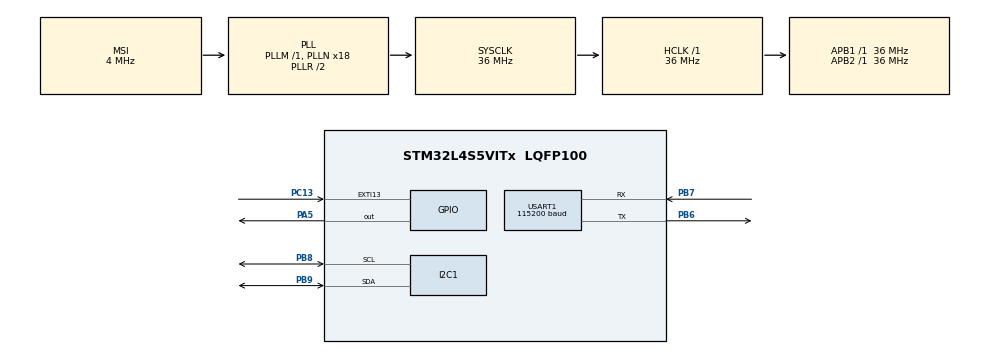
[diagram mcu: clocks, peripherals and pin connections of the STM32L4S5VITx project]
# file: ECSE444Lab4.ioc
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Dma.Request0=USART1_RX
Dma.Request1=USART1_TX
Dma.USART1_RX.0.Direction=DMA_PERIPH_TO_MEMORY
Dma.USART1_RX.0.EventEnable=DISABLE
Dma.USART1_RX.0.Instance=DMA1_Channel1
Dma.USART1_RX.0.MemDataAlignment=DMA_MDATAALIGN_BYTE
Dma.USART1_RX.0.MemInc=DMA_MINC_ENABLE
Dma.USART1_RX.0.Mode=DMA_NORMAL
Dma.USART1_RX.0.PeriphDataAlignment=DMA_PDATAALIGN_BYTE
Dma.USART1_RX.0.PeriphInc=DMA_PINC_DISABLE
Dma.USART1_RX.0.Polarity=HAL_DMAMUX_REQUEST_GEN_RISING
Dma.USART1_RX.0.Priority=DMA_PRIORITY_HIGH
Dma.USART1_RX.0.RequestNumber=1
Dma.USART1_RX.0.SignalID=NONE
Dma.USART1_RX.0.SyncEnable=DISABLE
Dma.USART1_RX.0.SyncPolarity=HAL_DMAMUX_SYNC_NO_EVENT
Dma.USART1_RX.0.SyncRequestNumber=1
Dma.USART1_RX.0.SyncSignalID=NONE
Dma.USART1_TX.1.Direction=DMA_MEMORY_TO_PERIPH
Dma.USART1_TX.1.EventEnable=DISABLE
Dma.USART1_TX.1.Instance=DMA1_Channel2
Dma.USART1_TX.1.MemDataAlignment=DMA_MDATAALIGN_BYTE
Dma.USART1_TX.1.MemInc=DMA_MINC_ENABLE
Dma.USART1_TX.1.Mode=DMA_CIRCULAR
Dma.USART1_TX.1.PeriphDataAlignment=DMA_PDATAALIGN_BYTE
Dma.USART1_TX.1.PeriphInc=DMA_PINC_DISABLE
Dma.USART1_TX.1.Polarity=HAL_DMAMUX_REQUEST_GEN_RISING
Dma.USART1_TX.1.Priority=DMA_PRIORITY_HIGH
Dma.USART1_TX.1.RequestNumber=1
Dma.USART1_TX.1.SignalID=NONE
Dma.USART1_TX.1.SyncEnable=DISABLE
Dma.USART1_TX.1.SyncPolarity=HAL_DMAMUX_SYNC_NO_EVENT
Dma.USART1_TX.1.SyncRequestNumber=1
Dma.USART1_TX.1.SyncSignalID=NONE
I2C1.Timing=0x00808CD2
Mcu.Family=STM32L4
Mcu.Name=STM32L4S5VITx
Mcu.Package=LQFP100
NVIC.DMA1_Channel1_IRQn=true\:0\:0\:false\:false\:true\:false\:true\:true
NVIC.DMA1_Channel2_IRQn=true\:0\:0\:false\:false\:true\:false\:true\:true
NVIC.EXTI15_10_IRQn=true\:0\:0\:false\:false\:true\:true\:true\:true
NVIC.PriorityGroup=NVIC_PRIORITYGROUP_4
NVIC.USART1_IRQn=true\:0\:0\:false\:false\:true\:true\:true\:true
PA5.Signal=GPIO_Output
PB6.Mode=Asynchronous
PB6.Signal=USART1_TX
PB7.Mode=Asynchronous
PB7.Signal=USART1_RX
PB8.Mode=I2C
PB8.Signal=I2C1_SCL
PB9.Mode=I2C
PB9.Signal=I2C1_SDA
PC13.Signal=GPXTI13
ProjectManager.HeapSize=0x200
ProjectManager.StackSize=0x400
ProjectManager.TargetToolchain=STM32CubeIDE
RCC.ADCFreq_Value=48000000
RCC.AHBFreq_Value=36000000
RCC.APB1Freq_Value=36000000
RCC.APB1TimFreq_Value=36000000
RCC.APB2Freq_Value=36000000
RCC.APB2TimFreq_Value=36000000
RCC.CortexFreq_Value=36000000
RCC.HCLKFreq_Value=36000000
RCC.HSE_VALUE=8000000
RCC.HSI48_VALUE=48000000
RCC.HSI_VALUE=16000000
RCC.LSE_VALUE=32768
RCC.MSI_VALUE=4000000
RCC.PLLN=18
RCC.PLLSAI1N=24
RCC.SYSCLKFreq_VALUE=36000000
RCC.SYSCLKSource=RCC_SYSCLKSOURCE_PLLCLK
RCC.USBFreq_Value=48000000
RCC.VCOOutputFreq_Value=72000000
USART1.BaudRate=115200
USART1.VirtualMode-Asynchronous=VM_ASYNC
board=B-L4S5I-IOT01A

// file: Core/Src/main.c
/* USER CODE BEGIN Header */
/**
  ******************************************************************************
  * @file           : main.c
  * @brief          : Main program body
  ******************************************************************************
  * @attention
  *
  * Copyright (c) 2024 STMicroelectronics.
  * All rights reserved.
  *
  * This software is licensed under terms that can be found in the LICENSE file
  * in the root directory of this software component.
  * If no LICENSE file comes with this software, it is provided AS-IS.
  *
  ******************************************************************************
  */
/* USER CODE END Header */
#include "main.h"

/* USER CODE BEGIN Includes */
#include <math.h>
#include <stdio.h>
#include "stm32l4s5i_iot01.h"
#include "stm32l4s5i_iot01_tsensor.h"
#include "stm32l4s5i_iot01_hsensor.h"
/* USER CODE END Includes */

I2C_HandleTypeDef hi2c1;
UART_HandleTypeDef huart1;
DMA_HandleTypeDef hdma_usart1_rx;
DMA_HandleTypeDef hdma_usart1_tx;

void SystemClock_Config(void);
static void MX_GPIO_Init(void);
static void MX_DMA_Init(void);
static void MX_I2C1_Init(void);
static void MX_USART1_UART_Init(void);

/* USER CODE BEGIN 0 */
int counter =0 ;
float hum_buff = 0;
float temp_buff = 0;
int temp_int = 0;
int temp_frac = 0;
int hum_int = 0;
int hum_frac = 0;
uint8_t str_th[100] = "";
uint8_t msg1[] = "______Temperature and humidity value measurement Tian/Kai______\n\n\r";
uint8_t msg2[] = "======>Initializing HTS221\r\n\n";
uint8_t msg3[] = "======> HTS221 initialized!\r\n\n";
uint8_t Rx_buff[256] = "";
//Override
#ifdef __GNUC__
#define PUTCHAR_PROTO int __io_putchar(int ch)
#else
#define PUTCHAR_PROTOint fputc(int ch, FILE *f)
#endif

PUTCHAR_PROTO
{
  HAL_UART_Transmit(&huart1, (uint8_t *)&ch, 1, HAL_MAX_DELAY);
  return ch;
}

//interrupts
void HAL_UARTEx_RxEventCallback(UART_HandleTypeDef *huart, uint16_t Size)
{
    if (huart == &huart1)
    {
        int i;
        for(i = 0; i < Size; i++){
            if(Rx_buff[i] == '\n'){
                // TODO
            }
        }
        HAL_UARTEx_ReceiveToIdle_DMA(&huart1, Rx_buff, 256);
        __HAL_DMA_DISABLE_IT(&hdma_usart1_rx, DMA_IT_HT);
    }
}

void HAL_GPIO_EXTI_Callback(uint16_t GPIO_Pin)
{
	hum_buff = BSP_HSENSOR_ReadHumidity();
	temp_buff = BSP_TSENSOR_ReadTemp();
	temp_int = temp_buff;
	temp_frac = 100*(temp_buff-(int)temp_buff);
	hum_int = hum_buff;
	hum_frac = 100*(hum_buff-(int)hum_buff);
	//snprintf((char*)str_th,100,"Temperature = %d.%02d\n\r", temp_int, temp_frac);
	//HAL_UART_Transmit(&huart1, str_th,sizeof(str_th),HAL_MAX_DELAY);
	//snprintf((char*)str_th,100,"Humidity = %d.%02d\n\r", hum_int, hum_frac);
	//HAL_UART_Transmit(&huart1, str_th,sizeof(str_th),HAL_MAX_DELAY);

	printf("Click output = %d \n\r", counter);
	printf("Temperature = %d.%02d\n\r", temp_int, temp_frac);
	printf("Humidity = %d.%02d\n\r\n\r", hum_int, hum_frac);

	HAL_GPIO_TogglePin(GPIOA,GPIO_PIN_5);
	counter++;
	//HAL_Delay(100);
}
/* USER CODE END 0 */

int main(void)
{

  /* MCU Configuration--------------------------------------------------------*/

  /* Reset of all peripherals, Initializes the Flash interface and the Systick. */
  HAL_Init();

  /* Configure the system clock */
  SystemClock_Config();

  /* Initialize all configured peripherals */
  MX_GPIO_Init();
  MX_DMA_Init();
  MX_I2C1_Init();
  MX_USART1_UART_Init();
  /* USER CODE BEGIN 2 */

  //HAL_UARTEx_ReceiveToIdle_DMA(&huart1, Rx_buff, 256);
  //__HAL_DMA_DISABLE_IT(&hdma_usart1_rx, DMA_IT_HT);

  //HAL_UART_Transmit(&huart1, msg1,sizeof(msg1),HAL_MAX_DELAY);
  printf((char*)msg1);
  //HAL_UART_Transmit(&huart1, msg2,sizeof(msg2),HAL_MAX_DELAY);
  printf((char*)msg2);

  BSP_HSENSOR_Init();
  BSP_TSENSOR_Init();

  //HAL_UART_Transmit(&huart1, msg3,sizeof(msg3),HAL_MAX_DELAY);
  printf((char*)msg3);

  /* USER CODE END 2 */

  /* Infinite loop */
  /* USER CODE BEGIN WHILE */

 // while(1){
	  //Comment out this infinite loop to enable 10Hz refresh mode
  //}

  counter = 0;
  while (1)
  {
	  hum_buff = BSP_HSENSOR_ReadHumidity();
	  temp_buff = BSP_TSENSOR_ReadTemp();
	  temp_int = temp_buff;
	  temp_frac = 100*(temp_buff-(int)temp_buff);
	  hum_int = hum_buff;
	  hum_frac = 100*(hum_buff-(int)hum_buff);
	  //snprintf((char*)str_th,100,"Temperature = %d.%02d\n\r", temp_int, temp_frac);
	  //HAL_UART_Transmit(&huart1, str_th,sizeof(str_th),HAL_MAX_DELAY);
	  //snprintf((char*)str_th,100,"Humidity = %d.%02d\n\r", hum_int, hum_frac);
	  //HAL_UART_Transmit(&huart1, str_th,sizeof(str_th),HAL_MAX_DELAY);
	  printf("At t = %d ms\n\r",counter*100);
	  printf("Temperature = %d.%02d\n\r", temp_int, temp_frac);
	  printf("Humidity = %d.%02d\n\r\n\r", hum_int, hum_frac);

	  HAL_GPIO_TogglePin(GPIOA,GPIO_PIN_5);
	  counter++;
	  HAL_Delay(100);
    /* USER CODE END WHILE */

  }
}

void SystemClock_Config(void)
{
  RCC_OscInitTypeDef RCC_OscInitStruct = {0};
  RCC_ClkInitTypeDef RCC_ClkInitStruct = {0};

  /** Configure the main internal regulator output voltage
  */
  if (HAL_PWREx_ControlVoltageScaling(PWR_REGULATOR_VOLTAGE_SCALE1) != HAL_OK)
  {
    Error_Handler();
  }

  /** Initializes the RCC Oscillators according to the specified parameters
  * in the RCC_OscInitTypeDef structure.
  */
  RCC_OscInitStruct.OscillatorType = RCC_OSCILLATORTYPE_MSI;
  RCC_OscInitStruct.MSIState = RCC_MSI_ON;
  RCC_OscInitStruct.MSICalibrationValue = 0;
  RCC_OscInitStruct.MSIClockRange = RCC_MSIRANGE_6;
  RCC_OscInitStruct.PLL.PLLState = RCC_PLL_ON;
  RCC_OscInitStruct.PLL.PLLSource = RCC_PLLSOURCE_MSI;
  RCC_OscInitStruct.PLL.PLLM = 1;
  RCC_OscInitStruct.PLL.PLLN = 18;
  RCC_OscInitStruct.PLL.PLLP = RCC_PLLP_DIV2;
  RCC_OscInitStruct.PLL.PLLQ = RCC_PLLQ_DIV2;
  RCC_OscInitStruct.PLL.PLLR = RCC_PLLR_DIV2;
  if (HAL_RCC_OscConfig(&RCC_OscInitStruct) != HAL_OK)
  {
    Error_Handler();
  }

  /** Initializes the CPU, AHB and APB buses clocks
  */
  RCC_ClkInitStruct.ClockType = RCC_CLOCKTYPE_HCLK|RCC_CLOCKTYPE_SYSCLK
                              |RCC_CLOCKTYPE_PCLK1|RCC_CLOCKTYPE_PCLK2;
  RCC_ClkInitStruct.SYSCLKSource = RCC_SYSCLKSOURCE_PLLCLK;
  RCC_ClkInitStruct.AHBCLKDivider = RCC_SYSCLK_DIV1;
  RCC_ClkInitStruct.APB1CLKDivider = RCC_HCLK_DIV1;
  RCC_ClkInitStruct.APB2CLKDivider = RCC_HCLK_DIV1;

  if (HAL_RCC_ClockConfig(&RCC_ClkInitStruct, FLASH_LATENCY_1) != HAL_OK)
  {
    Error_Handler();
  }
}

static void MX_I2C1_Init(void)
{

  hi2c1.Instance = I2C1;
  hi2c1.Init.Timing = 0x00808CD2;
  hi2c1.Init.OwnAddress1 = 0;
  hi2c1.Init.AddressingMode = I2C_ADDRESSINGMODE_7BIT;
  hi2c1.Init.DualAddressMode = I2C_DUALADDRESS_DISABLE;
  hi2c1.Init.OwnAddress2 = 0;
  hi2c1.Init.OwnAddress2Masks = I2C_OA2_NOMASK;
  hi2c1.Init.GeneralCallMode = I2C_GENERALCALL_DISABLE;
  hi2c1.Init.NoStretchMode = I2C_NOSTRETCH_DISABLE;
  if (HAL_I2C_Init(&hi2c1) != HAL_OK)
  {
    Error_Handler();
  }

  /** Configure Analogue filter
  */
  if (HAL_I2CEx_ConfigAnalogFilter(&hi2c1, I2C_ANALOGFILTER_ENABLE) != HAL_OK)
  {
    Error_Handler();
  }

  /** Configure Digital filter
  */
  if (HAL_I2CEx_ConfigDigitalFilter(&hi2c1, 0) != HAL_OK)
  {
    Error_Handler();
  }

}

static void MX_USART1_UART_Init(void)
{

  huart1.Instance = USART1;
  huart1.Init.BaudRate = 115200;
  huart1.Init.WordLength = UART_WORDLENGTH_8B;
  huart1.Init.StopBits = UART_STOPBITS_1;
  huart1.Init.Parity = UART_PARITY_NONE;
  huart1.Init.Mode = UART_MODE_TX_RX;
  huart1.Init.HwFlowCtl = UART_HWCONTROL_NONE;
  huart1.Init.OverSampling = UART_OVERSAMPLING_16;
  huart1.Init.OneBitSampling = UART_ONE_BIT_SAMPLE_DISABLE;
  huart1.Init.ClockPrescaler = UART_PRESCALER_DIV1;
  huart1.AdvancedInit.AdvFeatureInit = UART_ADVFEATURE_NO_INIT;
  if (HAL_UART_Init(&huart1) != HAL_OK)
  {
    Error_Handler();
  }
  if (HAL_UARTEx_SetTxFifoThreshold(&huart1, UART_TXFIFO_THRESHOLD_1_8) != HAL_OK)
  {
    Error_Handler();
  }
  if (HAL_UARTEx_SetRxFifoThreshold(&huart1, UART_RXFIFO_THRESHOLD_1_8) != HAL_OK)
  {
    Error_Handler();
  }
  if (HAL_UARTEx_DisableFifoMode(&huart1) != HAL_OK)
  {
    Error_Handler();
  }

}

static void MX_DMA_Init(void)
{

  /* DMA controller clock enable */
  __HAL_RCC_DMAMUX1_CLK_ENABLE();
  __HAL_RCC_DMA1_CLK_ENABLE();

  /* DMA interrupt init */
  /* DMA1_Channel1_IRQn interrupt configuration */
  HAL_NVIC_SetPriority(DMA1_Channel1_IRQn, 0, 0);
  HAL_NVIC_EnableIRQ(DMA1_Channel1_IRQn);
  /* DMA1_Channel2_IRQn interrupt configuration */
  HAL_NVIC_SetPriority(DMA1_Channel2_IRQn, 0, 0);
  HAL_NVIC_EnableIRQ(DMA1_Channel2_IRQn);

}

static void MX_GPIO_Init(void)
{
  GPIO_InitTypeDef GPIO_InitStruct = {0};

  /* GPIO Ports Clock Enable */
  __HAL_RCC_GPIOC_CLK_ENABLE();
  __HAL_RCC_GPIOA_CLK_ENABLE();
  __HAL_RCC_GPIOB_CLK_ENABLE();

  /*Configure GPIO pin Output Level */
  HAL_GPIO_WritePin(GPIOA, GPIO_PIN_5, GPIO_PIN_RESET);

  /*Configure GPIO pin : PC13 */
  GPIO_InitStruct.Pin = GPIO_PIN_13;
  GPIO_InitStruct.Mode = GPIO_MODE_IT_RISING;
  GPIO_InitStruct.Pull = GPIO_NOPULL;
  HAL_GPIO_Init(GPIOC, &GPIO_InitStruct);

  /*Configure GPIO pin : PA5 */
  GPIO_InitStruct.Pin = GPIO_PIN_5;
  GPIO_InitStruct.Mode = GPIO_MODE_OUTPUT_PP;
  GPIO_InitStruct.Pull = GPIO_NOPULL;
  GPIO_InitStruct.Speed = GPIO_SPEED_FREQ_LOW;
  HAL_GPIO_Init(GPIOA, &GPIO_InitStruct);

  /* EXTI interrupt init*/
  HAL_NVIC_SetPriority(EXTI15_10_IRQn, 0, 0);
  HAL_NVIC_EnableIRQ(EXTI15_10_IRQn);

}

void Error_Handler(void)
{
  __disable_irq();
  while (1)
  {
  }
}
